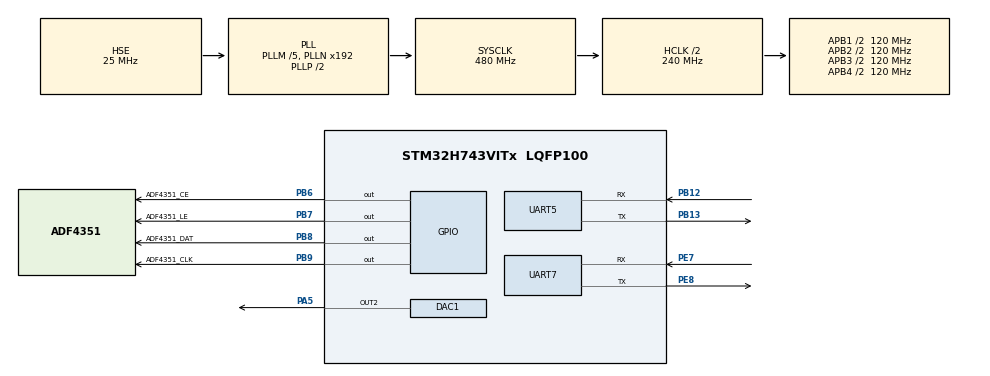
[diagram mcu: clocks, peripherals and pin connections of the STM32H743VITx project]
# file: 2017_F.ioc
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CORTEX_M7.Enable_Spec=__NULL
DAC1.DAC2_OutputBuffer-DAC_OUT2=DAC_OUTPUTBUFFER_ENABLE
DAC1.DAC_Channel-DAC_OUT2=DAC_CHANNEL_2
DAC1.DAC_SampleAndHold-DAC_OUT2=DAC_SAMPLEANDHOLD_DISABLE
DAC1.DAC_Trigger-DAC_OUT2=DAC_TRIGGER_NONE
Mcu.Family=STM32H7
Mcu.Name=STM32H743VITx
Mcu.Package=LQFP100
NVIC.PriorityGroup=NVIC_PRIORITYGROUP_4
NVIC.UART5_IRQn=true\:0\:0\:false\:false\:true\:true\:true\:true
NVIC.UART7_IRQn=true\:0\:0\:false\:false\:true\:true\:true\:true
PA13\ (JTMS/SWDIO).Mode=Serial_Wire
PA13\ (JTMS/SWDIO).Signal=DEBUG_JTMS-SWDIO
PA14\ (JTCK/SWCLK).Mode=Serial_Wire
PA14\ (JTCK/SWCLK).Signal=DEBUG_JTCK-SWCLK
PA5.Signal=COMP_DAC12_group
PB12.Mode=Asynchronous
PB12.Signal=UART5_RX
PB13.Mode=Asynchronous
PB13.Signal=UART5_TX
PB6.GPIO_Label=ADF4351_CE
PB6.GPIO_PuPd=GPIO_PULLUP
PB6.GPIO_Speed=GPIO_SPEED_FREQ_VERY_HIGH
PB6.PinState=GPIO_PIN_SET
PB6.Signal=GPIO_Output
PB7.GPIO_Label=ADF4351_LE
PB7.GPIO_PuPd=GPIO_NOPULL
PB7.GPIO_Speed=GPIO_SPEED_FREQ_VERY_HIGH
PB7.PinState=GPIO_PIN_SET
PB7.Signal=GPIO_Output
PB8.GPIO_Label=ADF4351_DAT
PB8.GPIO_Speed=GPIO_SPEED_FREQ_HIGH
PB8.PinState=GPIO_PIN_RESET
PB8.Signal=GPIO_Output
PB9.GPIO_Label=ADF4351_CLK
PB9.GPIO_Speed=GPIO_SPEED_FREQ_VERY_HIGH
PB9.Signal=GPIO_Output
PE7.Mode=Asynchronous
PE7.Signal=UART7_RX
PE8.Mode=Asynchronous
PE8.Signal=UART7_TX
PH0-OSC_IN\ (PH0).Mode=HSE-External-Oscillator
PH0-OSC_IN\ (PH0).Signal=RCC_OSC_IN
PH1-OSC_OUT\ (PH1).Mode=HSE-External-Oscillator
PH1-OSC_OUT\ (PH1).Signal=RCC_OSC_OUT
ProjectManager.HeapSize=0x200
ProjectManager.StackSize=0x2400
ProjectManager.TargetToolchain=MDK-ARM V5.32
RCC.ADCFreq_Value=50390625
RCC.APB1Freq_Value=120000000
RCC.APB2Freq_Value=120000000
RCC.APB3Freq_Value=120000000
RCC.APB4Freq_Value=120000000
RCC.CortexFreq_Value=480000000
RCC.D1PPRE=RCC_APB3_DIV2
RCC.D2PPRE1=RCC_APB1_DIV2
RCC.D2PPRE2=RCC_APB2_DIV2
RCC.D3PPRE=RCC_APB4_DIV2
RCC.DIVM1=5
RCC.DIVN1=192
RCC.HCLKFreq_Value=240000000
RCC.HPRE=RCC_HCLK_DIV2
RCC.HSE_Timout=5000
RCC.PLL3FRACN=0
RCC.PLLFRACN=0
RCC.PLLSourceVirtual=RCC_PLLSOURCE_HSE
RCC.PWR_Regulator_Voltage_Scale=PWR_REGULATOR_VOLTAGE_SCALE0
RCC.ProductRev=revV
RCC.SYSCLKFreq_VALUE=480000000
RCC.SYSCLKSource=RCC_SYSCLKSOURCE_PLLCLK
RCC.USBFreq_Value=480000000
SH.COMP_DAC12_group.0=DAC1_OUT2,DAC_OUT2
TIM6.AutoReloadPreload=TIM_AUTORELOAD_PRELOAD_ENABLE
TIM6.Period=65535
TIM6.Prescaler=65535-1
TIM6.TIM_MasterOutputTrigger=TIM_TRGO_UPDATE
TIM7.Prescaler=75
VP_TIM6_VS_ClockSourceINT.Mode=Enable_Timer
VP_TIM7_VS_ClockSourceINT.Mode=Enable_Timer
board=custom

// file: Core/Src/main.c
/* USER CODE BEGIN Header */
/**
  ******************************************************************************
  * @file           : main.c
  * @brief          : Main program body
  ******************************************************************************
  * @attention
  *
  * Copyright (c) 2022 STMicroelectronics.
  * All rights reserved.
  *
  * This software is licensed under terms that can be found in the LICENSE file
  * in the root directory of this software component.
  * If no LICENSE file comes with this software, it is provided AS-IS.
  *
  ******************************************************************************
  */
/* USER CODE END Header */
#include "main.h"
#include "dac.h"
#include "tim.h"
#include "usart.h"
#include "gpio.h"

/* USER CODE BEGIN PTD */
float Fre_current = 50;
int Chande_flag = 0;
uint32_t Dat0 = 2122;
float voltage = 1.70;
/* USER CODE END PTD */

/* USER CODE BEGIN PV */
void calculate_voltage(void)
{
	Dat0 = (uint32_t) (4095 * (voltage / 3.3)+11);
}
/* USER CODE END PV */

void SystemClock_Config(void);

int main(void)
{

  /* MCU Configuration--------------------------------------------------------*/

  /* Reset of all peripherals, Initializes the Flash interface and the Systick. */
  HAL_Init();

  /* USER CODE BEGIN Init */
	char screen_message[70];
  /* USER CODE END Init */

  /* Configure the system clock */
  SystemClock_Config();

  /* Initialize all configured peripherals */
  MX_GPIO_Init();
  MX_UART5_Init();
  MX_UART7_Init();
  MX_DAC1_Init();
  MX_TIM7_Init();
  MX_TIM6_Init();
  /* USER CODE BEGIN 2 */
	sprintf(screen_message,"x0.val=%d\xff\xff\xff",(int)0);
	for(int mino = 0;mino<5; mino++)
		USART1PutString(screen_message);
	ADF4351Init();

	calculate_voltage();
	HAL_DAC_SetValue(&hdac1,DAC_CHANNEL_2,DAC_ALIGN_12B_R,Dat0);
	HAL_DAC_Start(&hdac1,DAC_CHANNEL_2);

	ADF4351WriteFreq((Fre_current));

	Init_ad9910();
	Write_Amplitude(100);
	Freq_convert(Fre_current*1000000);

	sprintf(screen_message,"x0.val=%d\xff\xff\xff",(int)((Fre_current)*10));
	for(int mino = 0;mino<5; mino++)
		USART1PutString(screen_message);

	sprintf(screen_message,"x1.val=%d\xff\xff\xff",(u16)((voltage)*100));
	for(int mino = 0;mino<5; mino++)
		USART1PutString(screen_message);
  /* USER CODE END 2 */

  /* Infinite loop */
  while (1)
  {

    /* USER CODE BEGIN 3 */
		if(Chande_flag == 1)
		{
			if(Fre_current < 40)
			{Fre_current  =40;}
			if(Fre_current > 55)
			{Fre_current  =55;}

			Chande_flag = 0;
			ADF4351Init();
			ADF4351WriteFreq((Fre_current));

			Init_ad9910();
			Freq_convert(Fre_current*1000000);

			sprintf(screen_message,"x0.val=%d\xff\xff\xff",(u16)((Fre_current)*10));
			for(int mino = 0;mino<5; mino++)
				USART1PutString(screen_message);

			MX_UART7_Init();
		}
		else if(Chande_flag == 2)
		{
			Chande_flag = 0;
			calculate_voltage();
			HAL_DAC_SetValue(&hdac1,DAC_CHANNEL_2,DAC_ALIGN_12B_R,Dat0);
			HAL_DAC_Start(&hdac1,DAC_CHANNEL_2);

			sprintf(screen_message,"x1.val=%d\xff\xff\xff",(u16)((voltage)*100));
			for(int mino = 0;mino<5; mino++)
				USART1PutString(screen_message);

			MX_UART7_Init();
		}
  }
  /* USER CODE END 3 */
}

void SystemClock_Config(void)
{
  RCC_OscInitTypeDef RCC_OscInitStruct = {0};
  RCC_ClkInitTypeDef RCC_ClkInitStruct = {0};

  /** Supply configuration update enable
  */
  HAL_PWREx_ConfigSupply(PWR_LDO_SUPPLY);

  /** Configure the main internal regulator output voltage
  */
  __HAL_PWR_VOLTAGESCALING_CONFIG(PWR_REGULATOR_VOLTAGE_SCALE1);

  while(!__HAL_PWR_GET_FLAG(PWR_FLAG_VOSRDY)) {}

  __HAL_RCC_SYSCFG_CLK_ENABLE();
  __HAL_PWR_VOLTAGESCALING_CONFIG(PWR_REGULATOR_VOLTAGE_SCALE0);

  while(!__HAL_PWR_GET_FLAG(PWR_FLAG_VOSRDY)) {}

  /** Initializes the RCC Oscillators according to the specified parameters
  * in the RCC_OscInitTypeDef structure.
  */
  RCC_OscInitStruct.OscillatorType = RCC_OSCILLATORTYPE_HSE;
  RCC_OscInitStruct.HSEState = RCC_HSE_ON;
  RCC_OscInitStruct.PLL.PLLState = RCC_PLL_ON;
  RCC_OscInitStruct.PLL.PLLSource = RCC_PLLSOURCE_HSE;
  RCC_OscInitStruct.PLL.PLLM = 5;
  RCC_OscInitStruct.PLL.PLLN = 192;
  RCC_OscInitStruct.PLL.PLLP = 2;
  RCC_OscInitStruct.PLL.PLLQ = 2;
  RCC_OscInitStruct.PLL.PLLR = 2;
  RCC_OscInitStruct.PLL.PLLRGE = RCC_PLL1VCIRANGE_2;
  RCC_OscInitStruct.PLL.PLLVCOSEL = RCC_PLL1VCOWIDE;
  RCC_OscInitStruct.PLL.PLLFRACN = 0;
  if (HAL_RCC_OscConfig(&RCC_OscInitStruct) != HAL_OK)
  {
    Error_Handler();
  }

  /** Initializes the CPU, AHB and APB buses clocks
  */
  RCC_ClkInitStruct.ClockType = RCC_CLOCKTYPE_HCLK|RCC_CLOCKTYPE_SYSCLK
                              |RCC_CLOCKTYPE_PCLK1|RCC_CLOCKTYPE_PCLK2
                              |RCC_CLOCKTYPE_D3PCLK1|RCC_CLOCKTYPE_D1PCLK1;
  RCC_ClkInitStruct.SYSCLKSource = RCC_SYSCLKSOURCE_PLLCLK;
  RCC_ClkInitStruct.SYSCLKDivider = RCC_SYSCLK_DIV1;
  RCC_ClkInitStruct.AHBCLKDivider = RCC_HCLK_DIV2;
  RCC_ClkInitStruct.APB3CLKDivider = RCC_APB3_DIV2;
  RCC_ClkInitStruct.APB1CLKDivider = RCC_APB1_DIV2;
  RCC_ClkInitStruct.APB2CLKDivider = RCC_APB2_DIV2;
  RCC_ClkInitStruct.APB4CLKDivider = RCC_APB4_DIV2;

  if (HAL_RCC_ClockConfig(&RCC_ClkInitStruct, FLASH_LATENCY_4) != HAL_OK)
  {
    Error_Handler();
  }
}

void Error_Handler(void)
{
  __disable_irq();
  while (1)
  {
  }
}
